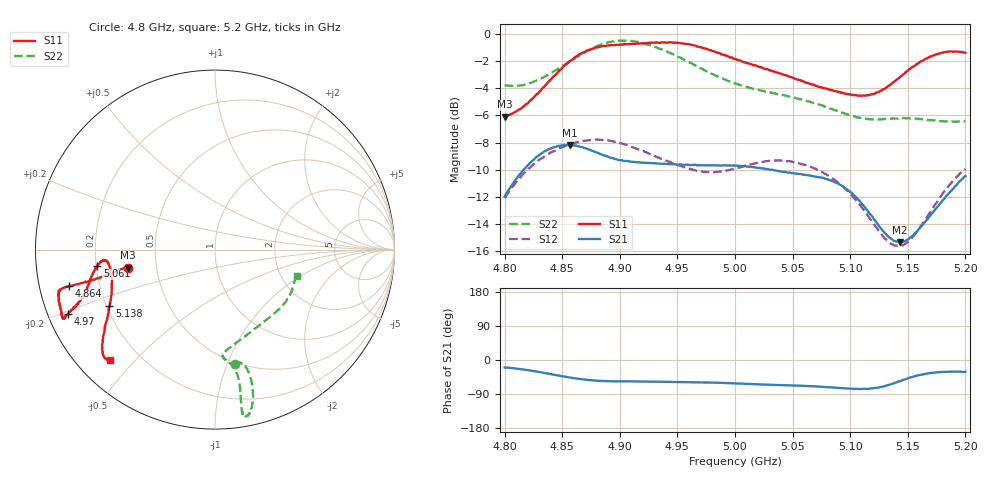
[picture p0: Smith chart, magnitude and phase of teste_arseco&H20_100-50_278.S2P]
! Network Analyzer HP8722D
! Hewlett-Packard
! Data name: Linha & Wilkinson
! Saver's name: Rodrigo Anjos
! Comments: Teste da utilização de aquisição
! continua pelo VNA HP8722D
! Time and date: 6/5/2025 14:53
!  Frequency  S11  S21  S12  S22
# HZ  S  MA R 50
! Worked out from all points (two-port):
!   401 points, 4.8 GHz to 5.2 GHz, reference 50 ohm
!   highest |S21| = -8.17 dB at 4.857 GHz (marker M1); lowest = -15.3 dB at 5.143 GHz (marker M2)
!   |S21| within 3 dB of the highest: 4.806 GHz to 5.093 GHz (286.8 MHz wide, 5.79 % of centre); 5.19171 GHz to end of sweep
!   lowest |S11| = -6.1 dB at 4.8 GHz (marker M3), VSWR 2.97, Z = 17 - j4.57 ohm
!   |S11| at or under -10 dB: nowhere
!   |S22| runs from -6.5 to -0.5 dB; largest |S21 - S12| = 0.62
!   S11 on the Smith chart (normalised r, x): 4.8 GHz: 0.34, -0.09; 4.864 GHz: 0.09, -0.12; 4.97 GHz: 0.06, -0.21; 5.061 GHz: 0.20, -0.07; 5.138 GHz: 0.21, -0.24; 5.2 GHz: 0.09, -0.43
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4.8e9  0.4962 -168.2  0.2523 -19.7  0.249 -140.9  0.6474 -80.3
4.829e9  0.6034 -167.0  0.3551 -31.2  0.3418 -145.1  0.6772 -75.2
4.857e9  0.7957 -165.9  0.3905 -46.3  0.3932 -150.3  0.7925 -74.7
4.864e9  0.8359 -165.9  0.3863 -49.4  0.3996 -151.4  0.8268 -75.3
4.867e9  0.849 -165.9  0.3837 -50.7  0.4028 -152.0  0.8425 -75.4
4.883e9  0.8961 -165.0  0.3615 -55.0  0.4079 -154.7  0.9083 -77.2
4.9e9  0.9119 -162.7  0.3428 -56.3  0.3963 -156.5  0.9432 -79.2
4.934e9  0.9265 -156.3  0.3333 -57.4  0.3512 -155.6  0.8838 -80.4
4.97e9  0.8931 -156.3  0.329 -59.2  0.3127 -147.0  0.7472 -79.6
5e9  0.8083 -159.0  0.3274 -61.8  0.3195 -137.3  0.6573 -81.2
5.034e9  0.7266 -165.2  0.3146 -65.8  0.3417 -134.3  0.6041 -85.7
5.061e9  0.6625 -171.9  0.3031 -68.3  0.3294 -136.2  0.5699 -84.0
5.067e9  0.6517 -173.0  0.3005 -69.1  0.3227 -136.8  0.5589 -82.7
5.082e9  0.6227 -174.7  0.2902 -72.0  0.2992 -138.2  0.5323 -77.2
5.101e9  0.597 -172.0  0.2608 -75.8  0.2553 -138.8  0.501 -66.6
5.116e9  0.5954 -165.5  0.2204 -75.9  0.2124 -135.5  0.4855 -55.7
5.134e9  0.6457 -154.2  0.1782 -65.3  0.1705 -120.8  0.4874 -43.3
5.138e9  0.6667 -151.9  0.1734 -61.2  0.1668 -115.5  0.488 -40.9
5.143e9  0.6919 -149.1  0.1711 -55.7  0.1661 -108.9  0.4888 -37.9
5.154e9  0.7552 -144.4  0.1809 -44.5  0.179 -95.1  0.4878 -32.3
5.174e9  0.8385 -138.6  0.2265 -32.8  0.2364 -80.4  0.4799 -23.8
5.2e9  0.8519 -133.6  0.2999 -31.3  0.3189 -76.9  0.4772 -17.7
